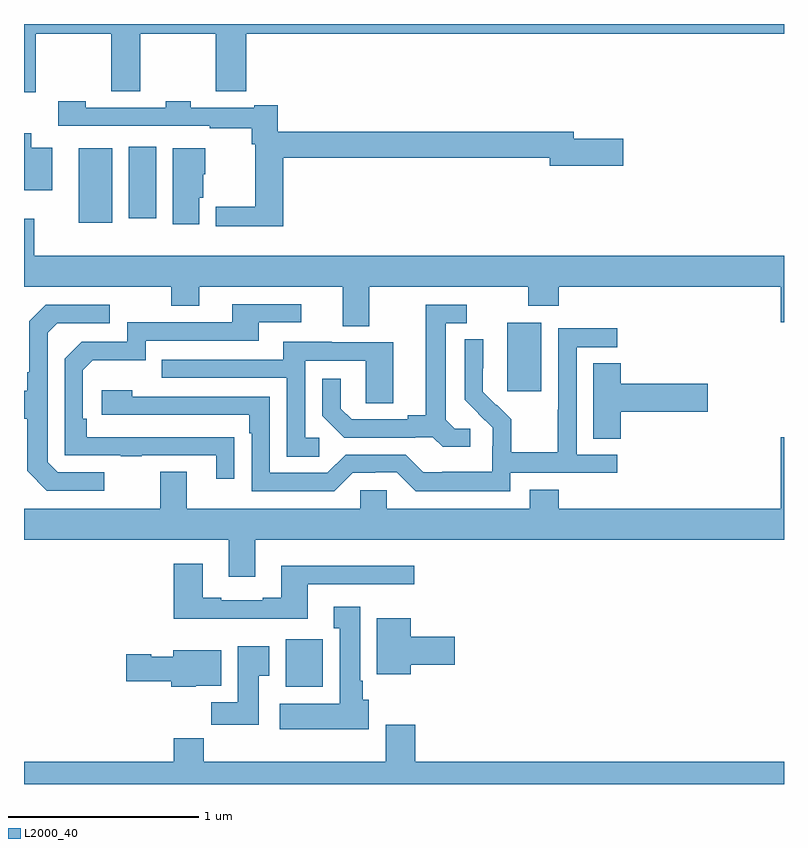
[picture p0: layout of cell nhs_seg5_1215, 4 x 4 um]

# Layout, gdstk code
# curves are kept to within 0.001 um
import gdstk
lib = gdstk.Library(unit=1e-6, precision=1e-09)
def R(c, l, rs):  # rectangles x0, y0, x1, y1
    for r in rs: c.add(gdstk.rectangle(r[:2], r[2:], *l))
def P(c, l, *ps):  # polygons
    for p in ps: c.add(gdstk.Polygon(p, *l))
L2000_40 = (2000, 40)

nhs_seg5_1215 = lib.new_cell('nhs_seg5_1215')
R(nhs_seg5_1215, L2000_40, [(186.377,865.31,186.573,865.561), (187.544,866.865,187.723,867.226), (185.288,867.752,185.464,868.144), (185.552,867.777,185.695,868.153)])
P(nhs_seg5_1215, L2000_40, [(185.061,868.748),(185.458,868.748),(185.458,868.444),(185.612,868.444),(185.612,868.748),(186.01,868.748),(186.01,868.444),(186.17,868.444),(186.17,868.748),(189,868.748),(189,868.799),(185,868.799),(185,868.44),(185.061,868.44)],
  [(186.365,868.096),(187.766,868.096),(187.766,868.054),(188.155,868.054),(188.155,868.196),(187.894,868.196),(187.894,868.232),(186.335,868.232),(186.335,868.372),(186.212,868.372),(186.212,868.359),(185.877,868.359),(185.877,868.392),(185.745,868.392),(185.745,868.359),(185.325,868.359),(185.325,868.392),(185.181,868.392),(185.181,868.263),(185.977,868.263),(185.977,868.251),(186.199,868.251),(186.199,868.166),(186.218,868.166),(186.218,867.836),(186.009,867.836),(186.009,867.734),(186.365,867.734)],
  [(185.149,868.147),(185.038,868.147),(185.038,868.225),(185,868.225),(185,867.923),(185.149,867.923)],
  [(185.923,867.885),(185.944,867.885),(185.944,868.008),(185.953,868.008),(185.953,868.144),(185.783,868.144),(185.783,867.744),(185.923,867.744)],
  [(186.817,867.416),(187.654,867.416),(187.654,867.317),(187.814,867.317),(187.814,867.416),(188.984,867.416),(188.984,867.228),(189,867.228),(189,867.58),(185.053,867.58),(185.053,867.775),(185,867.775),(185,867.416),(185.776,867.416),(185.776,867.317),(185.923,867.317),(185.923,867.416),(186.677,867.416),(186.677,867.208),(186.817,867.208)],
  [(186.107,866.624),(185.33,866.625),(185.33,866.722),(185.31,866.722),(185.31,866.976),(185.363,867.029),(185.64,867.029),(185.64,867.132),(186.235,867.132),(186.235,867.228),(186.46,867.228),(186.46,867.324),(186.095,867.324),(186.095,867.228),(185.544,867.228),(185.544,867.126),(185.304,867.126),(185.214,867.036),(185.214,866.529),(185.509,866.529),(185.509,866.524),(185.621,866.524),(185.621,866.529),(186.011,866.529),(186.011,866.406),(186.107,866.406)],
  [(185.422,866.439),(185.178,866.439),(185.124,866.493),(185.124,867.174),(185.175,867.225),(185.452,867.225),(185.452,867.321),(185.115,867.321),(185.028,867.234),(185.028,866.965),(185.016,866.965),(185.016,866.869),(185,866.869),(185,866.722),(185.016,866.722),(185.016,866.449),(185.121,866.343),(185.422,866.343)],
  [(187.348,866.67),(187.266,866.67),(187.219,866.717),(187.219,867.225),(187.33,867.225),(187.33,867.321),(187.115,867.321),(187.115,866.741),(187.019,866.741),(187.019,866.718),(186.724,866.718),(186.667,866.775),(186.667,866.932),(186.57,866.932),(186.57,866.738),(186.686,866.622),(187.058,866.622),(187.058,866.625),(187.152,866.625),(187.204,866.573),(187.348,866.573)],
  [(187.56,866.436),(188.122,866.436),(188.122,866.532),(187.908,866.532),(187.908,867.099),(188.122,867.099),(188.122,867.198),(187.812,867.198),(187.812,866.768),(187.81,866.768),(187.81,866.545),(187.565,866.545),(187.565,866.719),(187.488,866.796),(187.485,866.793),(187.415,866.864),(187.416,867.14),(187.32,867.14),(187.32,866.822),(187.466,866.674),(187.466,866.577),(187.464,866.577),(187.464,866.443),(187.201,866.443),(187.201,866.439),(187.101,866.439),(187.008,866.532),(186.693,866.532),(186.597,866.436),(186.294,866.436),(186.294,866.838),(185.57,866.838),(185.57,866.872),(185.409,866.872),(185.409,866.742),(186.185,866.742),(186.185,866.645),(186.198,866.645),(186.198,866.34),(186.633,866.34),(186.729,866.436),(186.848,866.436),(186.848,866.439),(186.963,866.439),(187.063,866.339),(187.56,866.339)],
  [(186.553,866.622),(186.48,866.622),(186.48,867.027),(186.798,867.027),(186.798,866.803),(186.943,866.803),(186.943,867.123),(186.619,867.123),(186.619,867.127),(186.365,867.127),(186.365,867.033),(185.725,867.033),(185.725,866.937),(186.384,866.937),(186.384,866.521),(186.553,866.521)],
  [(188.141,866.759),(188.599,866.759),(188.599,866.906),(188.141,866.906),(188.141,867.014),(187.997,867.014),(187.997,866.617),(188.141,866.617)],
  [(186.217,866.084),(189,866.084),(189,866.623),(188.984,866.623),(188.984,866.248),(187.814,866.248),(187.814,866.347),(187.661,866.347),(187.661,866.248),(186.909,866.248),(186.909,866.346),(186.771,866.346),(186.771,866.248),(185.857,866.248),(185.857,866.443),(185.717,866.443),(185.717,866.248),(185,866.248),(185,866.084),(186.077,866.084),(186.077,865.89),(186.217,865.89)],
  [(186.493,865.851),(187.054,865.851),(187.054,865.948),(186.353,865.948),(186.353,865.78),(186.257,865.78),(186.257,865.767),(186.037,865.767),(186.037,865.78),(185.941,865.78),(185.941,865.957),(185.789,865.957),(185.789,865.67),(186.493,865.67)],
  [(186.814,865.242),(186.784,865.242),(186.784,865.342),(186.769,865.342),(186.769,865.732),(186.629,865.732),(186.629,865.619),(186.662,865.619),(186.662,865.222),(186.345,865.222),(186.345,865.088),(186.814,865.088)],
  [(187.036,865.427),(187.267,865.427),(187.267,865.574),(187.036,865.574),(187.036,865.672),(186.857,865.672),(186.857,865.376),(187.036,865.376)],
  [(186.235,865.369),(186.292,865.369),(186.292,865.525),(186.125,865.525),(186.125,865.228),(185.986,865.228),(185.986,865.11),(186.235,865.11)],
  [(185.904,865.316),(186.037,865.316),(186.037,865.504),(185.786,865.504),(185.786,865.468),(185.67,865.468),(185.67,865.481),(185.538,865.481),(185.538,865.339),(185.774,865.339),(185.774,865.31),(185.904,865.31)],
  [(189,864.916),(187.058,864.916),(187.058,865.111),(186.905,865.111),(186.905,864.916),(185.945,864.916),(185.945,865.04),(185.789,865.04),(185.789,864.916),(185,864.916),(185,864.799),(189,864.799)])

lib.write_gds('nhs_seg5_1215.gds')
